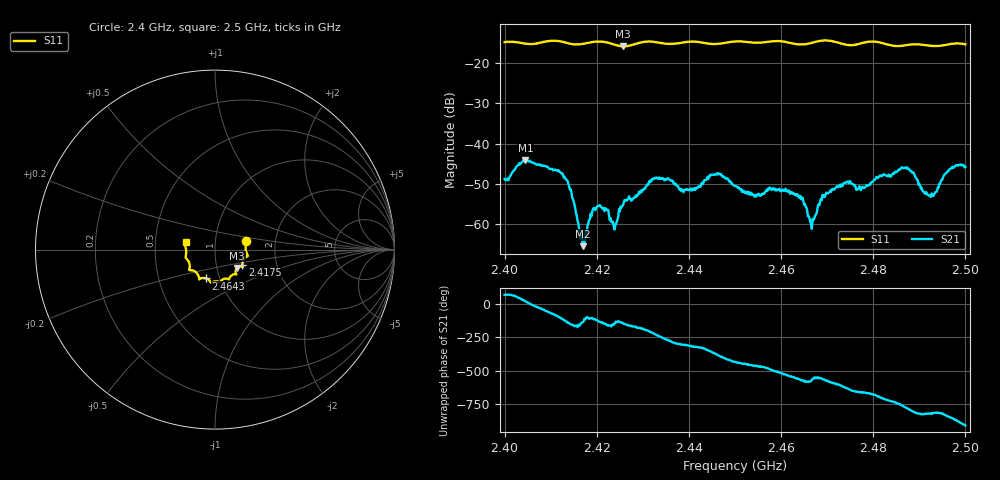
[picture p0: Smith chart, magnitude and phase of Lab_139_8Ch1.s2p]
# Hz S RI R 50
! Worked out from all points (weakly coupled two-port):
!   601 points, 2.4 GHz to 2.5 GHz, reference 50 ohm
!   highest |S21| = -44.15 dB at 2.4045 GHz (marker M1); lowest = -65.4 dB at 2.417 GHz (marker M2)
!   lowest |S11| = -15.9 dB at 2.4257 GHz (marker M3), VSWR 1.38, Z = 62.5 - j13.1 ohm
!   |S11| at or under -10 dB: start of sweep to end of sweep
!   S12 and S22 are empty: the file has one direction only
!   S11 on the Smith chart (normalised r, x): 2.4 GHz: 1.41, +0.14; 2.4175 GHz: 1.34, -0.23; 2.4643 GHz: 0.86, -0.28; 2.5 GHz: 0.72, +0.06
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2.4e9  0.1734 0.049  0.00123 0.00343  0 0  0 0
2.4045e9  0.171 0.0202  0.00574 0.00234  0 0  0 0
2.413e9  0.1746 -0.0403  -0.00202 -0.00331  0 0  0 0
2.414833e9  0.1608 -0.0532  -0.00189 -0.00084  0 0  0 0
2.416667e9  0.1529 -0.0742  -0.000589 -0.00049  0 0  0 0
2.417e9  0.1523 -0.0782  -0.00037 -0.00039  0 0  0 0
2.4175e9  0.1519 -0.0838  -0.000296 -0.000651  0 0  0 0
2.419667e9  0.1539 -0.0976  -0.000582 -0.00138  0 0  0 0
2.423833e9  0.1389 -0.0942  -0.000724 -0.000471  0 0  0 0
2.425667e9  0.1229 -0.1018  -0.00133 -0.00109  0 0  0 0
2.433333e9  0.1136 -0.1369  -0.00205 0.00307  0 0  0 0
2.438833e9  0.0803 -0.1593  0.00144 0.00204  0 0  0 0
2.4465e9  0.0436 -0.1661  0.00378 -0.00195  0 0  0 0
2.45e9  0.0288 -0.1812  0.00081 -0.00287  0 0  0 0
2.464333e9  -0.0498 -0.1606  -0.0017 0.00113  0 0  0 0
2.466667e9  -0.0762 -0.1589  -0.00077 0.000426  0 0  0 0
2.471667e9  -0.088 -0.1594  -0.0015 0.00228  0 0  0 0
2.483333e9  -0.1406 -0.0897  0.00411 -0.000367  0 0  0 0
2.487333e9  -0.1571 -0.0531  0.00237 -0.00449  0 0  0 0
2.492667e9  -0.1607 -0.0179  -0.000647 -0.00232  0 0  0 0
2.496667e9  -0.1682 0.0256  -0.00327 -0.0036  0 0  0 0
2.5e9  -0.164 0.0426  -0.00504 0.00113  0 0  0 0
